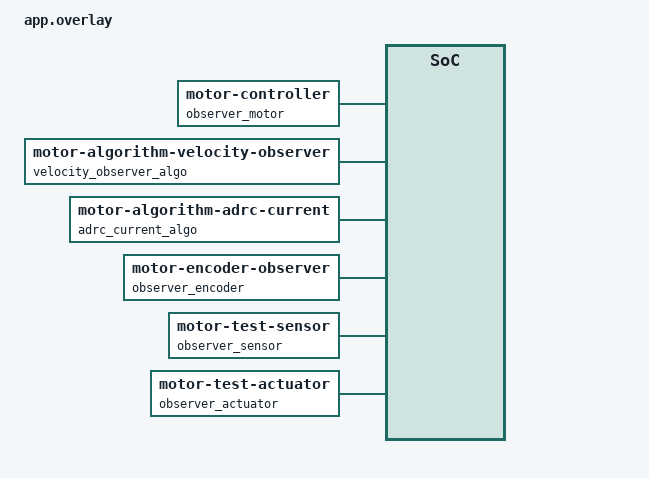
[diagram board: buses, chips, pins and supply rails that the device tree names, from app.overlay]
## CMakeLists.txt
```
# Copyright (c) 2026 Freedom Veiculos Eletricos
# SPDX-License-Identifier: Apache-2.0

cmake_minimum_required(VERSION 3.20.0)
find_package(Zephyr REQUIRED HINTS $ENV{ZEPHYR_BASE})
project(motor_algo_velocity_observer_test)

target_sources(app PRIVATE src/main.c ../common/motor_test_fake.c)
target_include_directories(app PRIVATE ../common
			   ${CMAKE_CURRENT_SOURCE_DIR}/../../../subsys/motor/include)
```

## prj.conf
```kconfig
CONFIG_ZTEST=y
CONFIG_FORTIFY_SOURCE_NONE=y

CONFIG_MOTOR_CONTROL_TEST_API=y
CONFIG_MOTOR_CONTROL_LIB=y
CONFIG_MOTOR_SUBSYS=y
CONFIG_MOTOR_SUBSYS_AUTO_INIT=n
CONFIG_MOTOR_ALGO_VELOCITY_OBSERVER=y

# The observer facade is a Zephyr sensor driver.
CONFIG_SENSOR=y
CONFIG_MOTOR_ENCODER_OBSERVER=y
```

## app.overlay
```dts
/ {
	observer_motor: motor-controller {
		compatible = "zephyr,motor-controller";
		status = "okay";

		sensor = <&observer_sensor>;
		actuator = <&observer_actuator>;
		algorithm = <&velocity_observer_algo &adrc_current_algo>;
	};

	velocity_observer_algo: motor-algorithm-velocity-observer {
		compatible = "zephyr,motor-algorithm-velocity-observer";
		status = "okay";

		motor-resistance-mohm = <1000>;
		motor-inductance-uh = <1000>;
		motor-ke-uv-per-rad-s = <50000>;
		vbus-nominal-mv = <12000>;
		observer-bandwidth-rad-s = <3000>;
		pll-kp-milli = <100>;
		pll-ki-milli = <200000>;
		valid-threshold-mrad-s = <20000>;
		valid-release-mrad-s = <15000>;
		settle-ticks = <100>;
		sensor-sink = <&observer_encoder>;
	};

	adrc_current_algo: motor-algorithm-adrc-current {
		compatible = "zephyr,motor-algorithm-adrc-current";
		status = "okay";

		adrc-current-kp-milli = <1000>;
		adrc-current-b0-milli = <1000>;
		adrc-current-beta1-milli = <0>;
		adrc-current-beta2-milli = <0>;
		adrc-current-out-min-milli = <(-1000)>;
		adrc-current-out-max-milli = <1000>;
		i-max-ma = <5000>;
	};

	observer_encoder: motor-encoder-observer {
		compatible = "zephyr,motor-encoder-observer";
		status = "okay";
	};

	observer_sensor: motor-test-sensor {
		compatible = "zephyr,motor-test-sensor";
		status = "okay";
	};

	observer_actuator: motor-test-actuator {
		compatible = "zephyr,motor-test-actuator";
		status = "okay";
		pwm-frequency = <20000>;
		slow-sample-div = <10>;
	};
};
```

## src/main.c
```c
/*
 * Copyright (c) 2026 Zephyr Motor Control Contributors
 *
 * SPDX-License-Identifier: Apache-2.0
 */

#include <math.h>

#include <zephyr/device.h>
#include <zephyr/drivers/motor/motor_encoder_observer.h>
#include <zephyr/drivers/sensor.h>
#include <zephyr/kernel.h>
#include <zephyr/subsys/motor/algorithms/velocity_observer/motor_algo_velocity_observer.h>
#include <zephyr/subsys/motor/motor.h>
#include <zephyr/subsys/motor/motor_subsys.h>
#include <zephyr/ztest.h>

#include "motor_algo_velocity_observer_priv.h"
#include "motor_test_fake.h"

#ifndef M_PI
#define M_PI 3.14159265358979323846
#endif

#define TEST_DT_S (1.0f / 20000.0f)
#define TEST_R_OHM 1.0f
#define TEST_L_H 0.001f
#define TEST_KE 0.05f
#define TEST_VBUS 12.0f

static struct motor_test_fake observer_fake;

DEVICE_DT_DEFINE(DT_NODELABEL(observer_sensor), motor_test_fake_sensor_init, NULL, &observer_fake,
		 NULL, POST_KERNEL, CONFIG_KERNEL_INIT_PRIORITY_DEVICE,
		 &motor_test_fake_sensor_ops);
DEVICE_DT_DEFINE(DT_NODELABEL(observer_actuator), motor_test_fake_actuator_init, NULL,
		 &observer_fake, NULL, POST_KERNEL, CONFIG_KERNEL_INIT_PRIORITY_DEVICE,
		 &motor_test_fake_actuator_ops);

static const struct device *const virtual_encoder = DEVICE_DT_GET(DT_NODELABEL(observer_encoder));

static struct motor_algo_velocity_observer_data make_observer(void)
{
	struct motor_algo_velocity_observer_data obs = {
		MOTOR_ALGO_VELOCITY_OBSERVER_BASE_INITIALIZER
		.state = {0},
		.params =
			{
				.r_ohm = TEST_R_OHM,
				.l_h = TEST_L_H,
				.ke_v_per_rad_s = TEST_KE,
				.vbus_v = TEST_VBUS,
				.bandwidth_rad_s = 3000.0f,
				.pll_kp = 0.1f,
				.pll_ki = 200.0f,
			},
		.limits =
			{
				.valid_threshold_rad_s = 20.0f,
				.valid_release_rad_s = 15.0f,
				.settle_ticks = 0U,
			},
		.timing = {.control_loop_dt_s = TEST_DT_S},
		.sink = NULL,
	};

	motor_velocity_observer_block_set_params(&obs.base);

	return obs;
}

/*
 * Drive the observer with the current a real motor would draw while spinning at
 * a fixed speed under a fixed command, integrating the electrical equation with
 * the same step as the control loop.
 */
static void run_dc_plant(struct motor_algo_velocity_observer_data *obs, float omega, float u,
			 int ticks)
{
	struct motor_sense_bundle sense = {.current_count = 1U};
	struct motor_block_in in = {
		.sense = &sense,
		.applied_u = u,
		.has_applied_u = true,
	};
	struct motor_block_out out = {0};
	float i_plant = 0.0f;

	for (int k = 0; k < ticks; k++) {
		sense.current_amps[0] = i_plant;
		motor_velocity_observer_block_entry(&obs->base, &in, &out);
		i_plant += TEST_DT_S *
			   (u * TEST_VBUS - TEST_R_OHM * i_plant - TEST_KE * omega) / TEST_L_H;
	}
}

/*
 * Force a single exact omega through the estimator so the validity band can be
 * exercised on its own: with a settled current the back-EMF state is carried
 * through untouched, and a purely proportional tracking loop starting from zero
 * reproduces it as-is.
 */
static void step_to_omega(struct motor_algo_velocity_observer_data *obs, float omega)
{
	struct motor_sense_bundle sense = {.current_count = 1U, .current_amps = {0.0f}};
	struct motor_block_in in = {
		.sense = &sense,
		.applied_u = 0.0f,
		.has_applied_u = true,
	};
	struct motor_block_out out = {0};

	obs->state.i_hat_a = 0.0f;
	obs->state.emf_hat_v = (omega / obs->params.pll_kp) * TEST_KE;
	obs->state.omega_hat_rad_s = 0.0f;
	obs->pll_integral = 0.0f;

	motor_velocity_observer_block_entry(&obs->base, &in, &out);
}

static void *suite_setup(void)
{
	zassert_equal(motor_subsys_init(), 0, NULL);
	return NULL;
}

ZTEST_SUITE(motor_algo_velocity_observer_suite, NULL, suite_setup, NULL, NULL, NULL);

ZTEST(motor_algo_velocity_observer_suite, test_converges_to_constant_speed)
{
	struct motor_algo_velocity_observer_data obs = make_observer();

	run_dc_plant(&obs, 100.0f, 0.5f, 4000);

	zassert_within(obs.state.omega_hat_rad_s, 100.0f, 2.0f, NULL);
	zassert_true(obs.state.valid, NULL);
}

ZTEST(motor_algo_velocity_observer_suite, test_tracks_speed_step)
{
	struct motor_algo_velocity_observer_data obs = make_observer();

	run_dc_plant(&obs, 100.0f, 0.5f, 4000);
	run_dc_plant(&obs, 250.0f, 1.0f, 4000);

	zassert_within(obs.state.omega_hat_rad_s, 250.0f, 5.0f, NULL);
}

ZTEST(motor_algo_velocity_observer_suite, test_sign_follows_rotation)
{
	struct motor_algo_velocity_observer_data obs = make_observer();

	run_dc_plant(&obs, -100.0f, -0.5f, 4000);

	zassert_within(obs.state.omega_hat_rad_s, -100.0f, 2.0f, NULL);
	zassert_true(obs.state.valid, NULL);
}

ZTEST(motor_algo_velocity_observer_suite, test_validity_hysteresis)
{
	struct motor_algo_velocity_observer_data obs = make_observer();

	obs.params.pll_ki = 0.0f;
	motor_velocity_observer_block_set_params(&obs.base);

	step_to_omega(&obs, 18.0f);
	zassert_false(obs.state.valid, "below the threshold it must stay invalid");

	step_to_omega(&obs, 25.0f);
	zassert_true(obs.state.valid, NULL);

	step_to_omega(&obs, 17.0f);
	zassert_true(obs.state.valid, "inside the band it must latch");

	step_to_omega(&obs, 10.0f);
	zassert_false(obs.state.valid, NULL);
}

ZTEST(motor_algo_velocity_observer_suite, test_settle_ticks_hold_invalid)
{
	struct motor_algo_velocity_observer_data obs = make_observer();

	obs.limits.settle_ticks = 5000U;

	run_dc_plant(&obs, 100.0f, 0.5f, 4000);
	zassert_false(obs.state.valid, "validity must wait out the settle window");

	run_dc_plant(&obs, 100.0f, 0.5f, 1001);
	zassert_true(obs.state.valid, NULL);
}

ZTEST(motor_algo_velocity_observer_suite, test_reset_clears_estimate)
{
	struct motor_algo_velocity_observer_data obs = make_observer();

	run_dc_plant(&obs, 100.0f, 0.5f, 4000);
	zassert_true(obs.state.valid, NULL);

	motor_velocity_observer_block_reset(&obs.base);

	zassert_false(obs.state.valid, NULL);
	zassert_within(obs.state.omega_hat_rad_s, 0.0f, 1e-6f, NULL);
	zassert_within(obs.state.emf_hat_v, 0.0f, 1e-6f, NULL);
}

ZTEST(motor_algo_velocity_observer_suite, test_missing_current_keeps_estimate_invalid)
{
	struct motor_algo_velocity_observer_data obs = make_observer();
	struct motor_sense_bundle empty = {.current_count = 0U};
	struct motor_block_in no_sense = {.sense = NULL};
	struct motor_block_in no_current = {.sense = &empty};
	struct motor_block_out out = {0};

	for (int k = 0; k < 1000; k++) {
		motor_velocity_observer_block_entry(&obs.base, &no_sense, &out);
	}
	zassert_false(obs.state.valid, NULL);

	for (int k = 0; k < 1000; k++) {
		motor_velocity_observer_block_entry(&obs.base, &no_current, &out);
	}
	zassert_false(obs.state.valid, NULL);
}

ZTEST(motor_algo_velocity_observer_suite, test_block_drives_nothing)
{
	struct motor_algo_velocity_observer_data obs = make_observer();
	struct motor_sense_bundle sense = {.current_count = 1U, .current_amps = {1.0f}};
	struct motor_block_in in = {.sense = &sense, .applied_u = 0.5f, .has_applied_u = true};
	struct motor_block_out out = {
		.n_duty = 2U,
		.has_current_ref = true,
		.has_applied_u = true,
	};

	motor_velocity_observer_block_entry(&obs.base, &in, &out);

	zassert_equal(out.n_duty, 0U, NULL);
	zassert_false(out.has_current_ref, NULL);
	zassert_false(out.has_applied_u, NULL);
}

ZTEST(motor_algo_velocity_observer_suite, test_rejects_invalid_params)
{
	motor_t motor = motor_subsys_get_by_label("observer_motor");
	struct motor_velocity_observer_params params;

	zassert_not_null(motor, NULL);
	zassert_equal(motor_algo_velocity_observer_get_params(motor, &params), 0, NULL);
	zassert_within(params.r_ohm, TEST_R_OHM, 1e-6f, NULL);
	zassert_within(params.ke_v_per_rad_s, TEST_KE, 1e-9f, NULL);

	params.l_h = 0.0f;
	zassert_equal(motor_algo_velocity_observer_set_params(motor, &params, false), -EINVAL,
		      NULL);

	params.l_h = TEST_L_H;
	params.ke_v_per_rad_s = 0.0f;
	zassert_equal(motor_algo_velocity_observer_set_params(motor, &params, false), -EINVAL,
		      NULL);

	params.ke_v_per_rad_s = TEST_KE;
	params.bandwidth_rad_s = 0.0f;
	zassert_equal(motor_algo_velocity_observer_set_params(motor, &params, false), -EINVAL,
		      NULL);

	zassert_equal(motor_algo_velocity_observer_set_params(motor, NULL, false), -EINVAL, NULL);
}

ZTEST(motor_algo_velocity_observer_suite, test_rejects_unstable_tracking_gains)
{
	motor_t motor = motor_subsys_get_by_label("observer_motor");
	struct motor_velocity_observer_params params;

	zassert_not_null(motor, NULL);
	zassert_equal(motor_algo_velocity_observer_get_params(motor, &params), 0, NULL);

	params.pll_kp = 1.0f;
	zassert_equal(motor_algo_velocity_observer_set_params(motor, &params, false), -EINVAL,
		      "a unit proportional gain diverges");

	params.pll_kp = 0.1f;
	params.pll_ki = 1.0e6f;
	zassert_equal(motor_algo_velocity_observer_set_params(motor, &params, false), -EINVAL,
		      NULL);
}

ZTEST(motor_algo_velocity_observer_suite, test_rejects_inverted_hysteresis)
{
	motor_t motor = motor_subsys_get_by_label("observer_motor");
	struct motor_velocity_observer_limits limits;

	zassert_not_null(motor, NULL);
	zassert_equal(motor_algo_velocity_observer_get_limits(motor, &limits), 0, NULL);
	zassert_within(limits.valid_threshold_rad_s, 20.0f, 1e-6f, NULL);
	zassert_within(limits.valid_release_rad_s, 15.0f, 1e-6f, NULL);

	limits.valid_release_rad_s = 25.0f;
	zassert_equal(motor_algo_velocity_observer_set_limits(motor, &limits), -EINVAL, NULL);

	limits.valid_release_rad_s = 15.0f;
	limits.valid_threshold_rad_s = 0.0f;
	zassert_equal(motor_algo_velocity_observer_set_limits(motor, &limits), -EINVAL, NULL);
}

ZTEST(motor_algo_velocity_observer_suite, test_virtual_encoder_reports_no_data_while_invalid)
{
	struct sensor_value val;

	zassert_true(device_is_ready(virtual_encoder), NULL);

	motor_encoder_observer_publish(virtual_encoder, 50.0f, 1.0f, false);
	zassert_equal(sensor_sample_fetch(virtual_encoder), -ENODATA, NULL);

	motor_encoder_observer_publish(virtual_encoder, 0.0f, (float)M_PI / 2.0f, true);
	zassert_equal(sensor_sample_fetch(virtual_encoder), 0, NULL);
	zassert_equal(sensor_channel_get(virtual_encoder, SENSOR_CHAN_ROTATION, &val), 0, NULL);
	zassert_within(sensor_value_to_double(&val), 90.0, 0.01, "rotation must be degrees");
}

ZTEST(motor_algo_velocity_observer_suite, test_virtual_encoder_reports_rpm)
{
	struct sensor_value val;

	motor_encoder_observer_publish(virtual_encoder, 2.0f * (float)M_PI, 0.0f, true);
	zassert_equal(sensor_sample_fetch(virtual_encoder), 0, NULL);
	zassert_equal(sensor_channel_get(virtual_encoder, SENSOR_CHAN_RPM, &val), 0, NULL);
	zassert_within(sensor_value_to_double(&val), 60.0, 0.01, NULL);

	zassert_equal(sensor_channel_get(virtual_encoder, SENSOR_CHAN_DIE_TEMP, &val), -ENOTSUP,
		      NULL);
	zassert_equal(sensor_sample_fetch_chan(virtual_encoder, SENSOR_CHAN_DIE_TEMP), -ENOTSUP,
		      NULL);
}

ZTEST(motor_algo_velocity_observer_suite, test_observer_publishes_through_pipeline)
{
	motor_t motor = motor_subsys_get_by_label("observer_motor");
	struct motor_velocity_observer_state state;

	zassert_not_null(motor, NULL);
	zassert_equal(motor_enable(motor), 0, NULL);

	observer_fake.sensor_sample_count = 1U;
	observer_fake.sensor_samples[0] = 1.0f;

	for (int k = 0; k < 200; k++) {
		motor_test_fake_sync_fire(DEVICE_DT_GET(DT_NODELABEL(observer_actuator)));
	}

	zassert_equal(motor_algo_velocity_observer_get_state(motor, &state), 0, NULL);
	/* settle-ticks is 100 in the overlay, so the window is already over. */
	zassert_equal(sensor_sample_fetch(virtual_encoder), state.valid ? 0 : -ENODATA, NULL);

	motor_estop(motor);
	zassert_equal(sensor_sample_fetch(virtual_encoder), -ENODATA,
		      "stopping must invalidate the facade");
}
```
